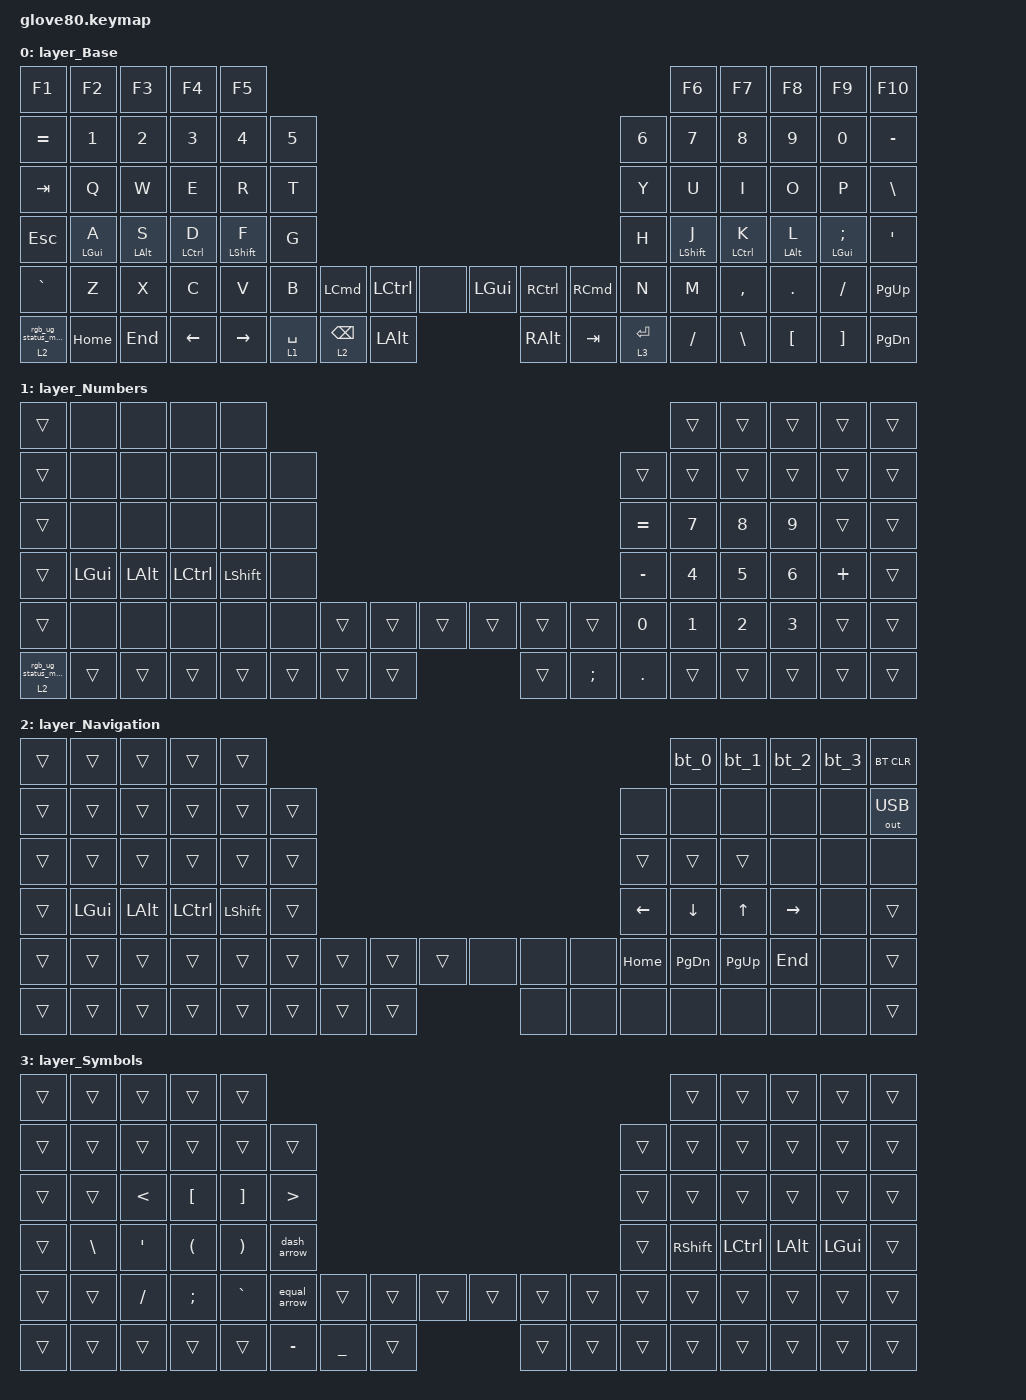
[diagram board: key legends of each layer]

/*
 * Copyright (c) 2020 The ZMK Contributors
 * Copyright (c) 2022 Innaworks Development Limited, trading as MoErgo
 *
 * SPDX-License-Identifier: MIT
 */


/* THIS FILE WAS GENERATED BY GLOVE80 LAYOUT EDITOR
 *
 * This file was generated automatically. You may or may not want to
 * edit it directly.
 */

#include <behaviors.dtsi>
/* Include all behaviour includes needed by system behaviors/macros */
#include <dt-bindings/zmk/outputs.h>

/* Include behaviour includes needed by key binds - automatically generated */
#include <dt-bindings/zmk/keys.h>
#include <dt-bindings/zmk/bt.h>
#include <dt-bindings/zmk/rgb.h>
#include <dt-bindings/zmk/outputs.h>


/ {
    /* Glove80 system behavior & macros */
    behaviors {
        // For the "layer" key, it'd nice to be able to use it as either a shift or a toggle.
        // Configure it as a tap dance, so the first tap (or hold) is a &mo and the second tap is a &to
        layer_td: tap_dance_0 {
            compatible = "zmk,behavior-tap-dance";
            label = "LAYER_TAP_DANCE";
            #binding-cells = <0>;
            tapping-term-ms = <200>;
            bindings = <&mo 1>, <&to 1>;
        };

        magic: magic_hold_tap {
            compatible = "zmk,behavior-hold-tap";
            label = "MAGIC_HOLD_TAP";
            #binding-cells = <2>;
            flavor = "tap-preferred";
            tapping-term-ms = <200>;
            bindings = <&mo>, <&rgb_ug_status_macro>;
        };

        // Define my preferred hold taps for homerow mods.
        // - Emulate the QMK IGNORE_MOD_TAP_INTERRUPT behavior.
        //   See https://zmk.dev/docs/behaviors/hold-tap#comparison-to-qmk
        // - Enable quick tap.
        hrm: homerow_mods {
            compatible = "zmk,behavior-hold-tap";
            label = "HOMEROW_MODS";
            #binding-cells = <2>;
            tapping-term-ms = <200>;
            quick-tap-ms = <150>;
            flavor = "tap-preferred";
            bindings = <&kp>, <&kp>;
        };
    };

    macros {
        rgb_ug_status_macro: rgb_ug_status_macro_0 {
            label = "RGB_UG_STATUS";
            compatible = "zmk,behavior-macro";
            #binding-cells = <0>;
            bindings
                = <&rgb_ug RGB_STATUS>;
        };

        bt_0: bt_profile_macro_0 {
            label = "BT_0";
            compatible = "zmk,behavior-macro";
            #binding-cells = <0>;
            bindings
                = <&out OUT_BLE>,
                  <&bt BT_SEL 0>;
        };

        bt_1: bt_profile_macro_1 {
            label = "BT_1";
            compatible = "zmk,behavior-macro";
            #binding-cells = <0>;
            bindings
                = <&out OUT_BLE>,
                  <&bt BT_SEL 1>;
        };

        bt_2: bt_profile_macro_2 {
            label = "BT_2";
            compatible = "zmk,behavior-macro";
            #binding-cells = <0>;
            bindings
                = <&out OUT_BLE>,
                  <&bt BT_SEL 2>;
        };

        bt_3: bt_profile_macro_3 {
            label = "BT_3";
            compatible = "zmk,behavior-macro";
            #binding-cells = <0>;
            bindings
                = <&out OUT_BLE>,
                  <&bt BT_SEL 3>;
        };
    
        dash_arrow: dash_arrow {
            label = "ZM_dash_arrow";
            compatible = "zmk,behavior-macro";
            #binding-cells = <0>;
            bindings = <&kp MINUS>, <&kp GREATER_THAN>;
        };

        equal_arrow: equal_arrow {
            label = "ZM_equal_arrow";
            compatible = "zmk,behavior-macro";
            #binding-cells = <0>;
            bindings = <&kp EQUAL>, <&kp GREATER_THAN>;
        };
    };


    /* Automatically generated keymap */
    keymap {
        compatible = "zmk,keymap";


        layer_Base {
            bindings = <
     &kp F1       &kp F2       &kp F3        &kp F4        &kp F5                                                                                              &kp F6        &kp F7       &kp F8          &kp F9    &kp F10
  &kp EQUAL       &kp N1       &kp N2        &kp N3        &kp N4  &kp N5                                                                        &kp N6        &kp N7        &kp N8       &kp N9          &kp N0  &kp MINUS
    &kp TAB        &kp Q        &kp W         &kp E         &kp R   &kp T                                                                         &kp Y         &kp U         &kp I        &kp O           &kp P   &kp BSLH
    &kp ESC  &hrm LGUI A  &hrm LALT S  &hrm LCTRL D  &hrm LSHFT F   &kp G                                                                         &kp H  &hrm LSHFT J  &hrm LCTRL K  &hrm LALT L  &hrm LGUI SEMI    &kp SQT
  &kp GRAVE        &kp Z        &kp X         &kp C         &kp V   &kp B      &kp LCMD    &kp LCTRL     &none  &kp LGUI  &kp RCTRL    &kp RCMD   &kp N         &kp M     &kp COMMA      &kp DOT        &kp FSLH  &kp PG_UP
 &magic 2 0     &kp HOME      &kp END      &kp LEFT     &kp RIGHT           &lt 1 SPACE   &lt 2 BSPC  &kp LALT  &kp RALT    &kp TAB   &lt 3 RET              &kp FSLH      &kp BSLH     &kp LBKT        &kp RBKT  &kp PG_DN
            >;
        };

        layer_Numbers {
            bindings = <
     &trans     &none     &none      &none      &none                                                                        &trans  &trans  &trans    &trans  &trans
     &trans     &none     &none      &none      &none   &none                                                        &trans  &trans  &trans  &trans    &trans  &trans
     &trans     &none     &none      &none      &none   &none                                                     &kp EQUAL  &kp N7  &kp N8  &kp N9    &trans  &trans
     &trans  &kp LGUI  &kp LALT  &kp LCTRL  &kp LSHFT   &none                                                     &kp MINUS  &kp N4  &kp N5  &kp N6  &kp PLUS  &trans
     &trans     &none     &none      &none      &none   &none  &trans  &trans  &trans  &trans    &trans   &trans     &kp N0  &kp N1  &kp N2  &kp N3    &trans  &trans
 &magic 2 0    &trans    &trans     &trans     &trans          &trans  &trans  &trans  &trans  &kp SEMI  &kp DOT             &trans  &trans  &trans    &trans  &trans
            >;
        };

        layer_Navigation {
            bindings = <
 &trans    &trans    &trans     &trans     &trans                                                                        &bt_0      &bt_1      &bt_2   &bt_3 &bt BT_CLR
 &trans    &trans    &trans     &trans     &trans  &trans                                                     &none      &none      &none      &none   &none &out OUT_USB
 &trans    &trans    &trans     &trans     &trans  &trans                                                    &trans     &trans     &trans      &none   &none   &none
 &trans  &kp LGUI  &kp LALT  &kp LCTRL  &kp LSHFT  &trans                                                  &kp LEFT   &kp DOWN     &kp UP  &kp RIGHT   &none  &trans
 &trans    &trans    &trans     &trans     &trans  &trans  &trans  &trans  &trans   &none   &none   &none  &kp HOME  &kp PG_DN  &kp PG_UP    &kp END   &none  &trans
 &trans    &trans    &trans     &trans     &trans          &trans  &trans  &trans   &none   &none   &none                &none      &none      &none   &none  &trans
            >;
        };

        layer_Symbols {
            bindings = <
 &trans    &trans     &trans    &trans     &trans                                                                                      &trans     &trans    &trans    &trans  &trans
 &trans    &trans     &trans    &trans     &trans        &trans                                                             &trans     &trans     &trans    &trans    &trans  &trans
 &trans    &trans     &kp LT  &kp LBKT   &kp RBKT        &kp GT                                                             &trans     &trans     &trans    &trans    &trans  &trans
 &trans  &kp BSLH    &kp SQT  &kp LPAR   &kp RPAR   &dash_arrow                                                             &trans  &kp RSHFT  &kp LCTRL  &kp LALT  &kp LGUI  &trans
 &trans    &trans   &kp FSLH  &kp SEMI  &kp GRAVE  &equal_arrow     &trans          &trans  &trans  &trans  &trans  &trans  &trans     &trans     &trans    &trans    &trans  &trans
 &trans    &trans     &trans    &trans     &trans                &kp MINUS  &kp UNDERSCORE  &trans  &trans  &trans  &trans             &trans     &trans    &trans    &trans  &trans
            >;
        };

    };
};
